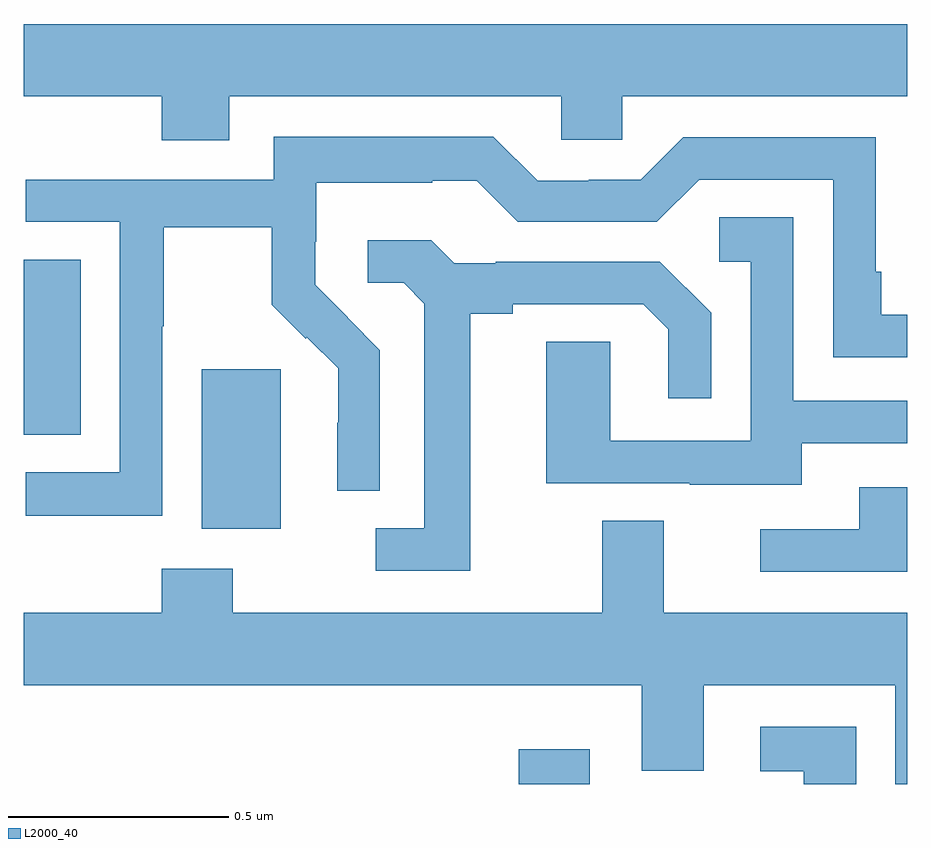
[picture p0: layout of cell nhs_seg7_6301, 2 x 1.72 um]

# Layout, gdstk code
import gdstk
lib = gdstk.Library(unit=1e-6, precision=1e-09)
def R(c, l, rs):  # rectangles x0, y0, x1, y1
    for r in rs: c.add(gdstk.rectangle(r[:2], r[2:], *l))
def P(c, l, *ps):  # polygons
    for p in ps: c.add(gdstk.Polygon(p, *l))
L2000_40 = (2000, 40)

nhs_seg7_6301 = lib.new_cell('nhs_seg7_6301')
R(nhs_seg7_6301, L2000_40, [(197.12,1059,197.281,1059.079), (196.403,1059.578,196.582,1059.939), (196,1059.79,196.129,1060.187)])
P(nhs_seg7_6301, L2000_40, [(196.465,1060.556),(197.217,1060.556),(197.217,1060.458),(197.355,1060.458),(197.355,1060.556),(198,1060.556),(198,1060.72),(196,1060.72),(196,1060.556),(196.313,1060.556),(196.313,1060.457),(196.465,1060.457)],
  [(196.314,1060.036),(196.317,1060.036),(196.317,1060.26),(196.561,1060.26),(196.561,1060.085),(196.638,1060.008),(196.641,1060.011),(196.712,1059.941),(196.712,1059.818),(196.71,1059.818),(196.71,1059.664),(196.806,1059.664),(196.806,1059.982),(196.733,1060.055),(196.734,1060.056),(196.66,1060.13),(196.66,1060.227),(196.662,1060.227),(196.662,1060.361),(196.925,1060.361),(196.925,1060.365),(197.025,1060.365),(197.118,1060.272),(197.433,1060.272),(197.529,1060.368),(197.832,1060.368),(197.832,1059.966),(198,1059.966),(198,1060.062),(197.941,1060.062),(197.941,1060.159),(197.928,1060.159),(197.928,1060.464),(197.493,1060.464),(197.397,1060.368),(197.279,1060.368),(197.279,1060.365),(197.163,1060.365),(197.063,1060.465),(196.566,1060.465),(196.566,1060.368),(196.005,1060.368),(196.005,1060.272),(196.218,1060.272),(196.218,1059.705),(196.005,1059.705),(196.005,1059.607),(196.314,1059.607)],
  [(197.761,1059.771),(198,1059.771),(198,1059.867),(197.742,1059.867),(197.742,1060.283),(197.574,1060.283),(197.574,1060.182),(197.646,1060.182),(197.646,1059.777),(197.328,1059.777),(197.328,1060.001),(197.183,1060.001),(197.183,1059.681),(197.507,1059.681),(197.507,1059.677),(197.761,1059.677)],
  [(197.011,1060.064),(197.107,1060.064),(197.107,1060.086),(197.402,1060.086),(197.459,1060.029),(197.459,1059.873),(197.556,1059.873),(197.556,1060.066),(197.44,1060.182),(197.068,1060.182),(197.068,1060.179),(196.974,1060.179),(196.922,1060.231),(196.779,1060.231),(196.779,1060.134),(196.86,1060.134),(196.907,1060.087),(196.907,1059.579),(196.797,1059.579),(196.797,1059.483),(197.011,1059.483)],
  [(198,1059.672),(197.891,1059.672),(197.891,1059.576),(197.667,1059.576),(197.667,1059.48),(198,1059.48)],
  [(198,1059.388),(197.449,1059.388),(197.449,1059.596),(197.309,1059.596),(197.309,1059.388),(196.473,1059.388),(196.473,1059.487),(196.313,1059.487),(196.313,1059.388),(196,1059.388),(196,1059.224),(197.399,1059.224),(197.399,1059.03),(197.539,1059.03),(197.539,1059.224),(197.973,1059.224),(197.973,1059),(198,1059)],
  [(197.884,1059.13),(197.667,1059.13),(197.667,1059.029),(197.765,1059.029),(197.765,1059),(197.884,1059)])

lib.write_gds('nhs_seg7_6301.gds')
